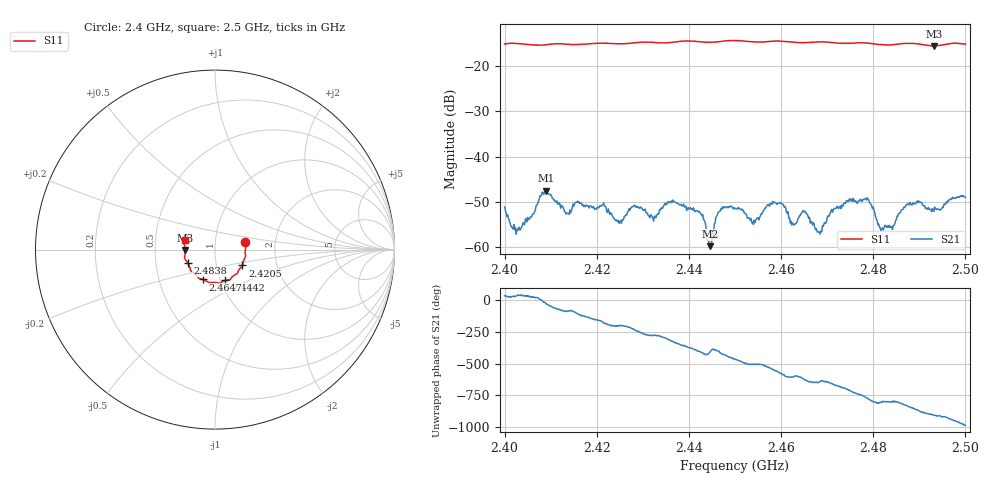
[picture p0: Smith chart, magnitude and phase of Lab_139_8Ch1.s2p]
# Hz S RI R 50
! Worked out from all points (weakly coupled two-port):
!   601 points, 2.4 GHz to 2.5 GHz, reference 50 ohm
!   highest |S21| = -47.54 dB at 2.409 GHz (marker M1); lowest = -59.7 dB at 2.4447 GHz (marker M2)
!   lowest |S11| = -15.6 dB at 2.4932 GHz (marker M3), VSWR 1.40, Z = 35.8 - j0.178 ohm
!   |S11| at or under -10 dB: start of sweep to end of sweep
!   S12 and S22 are empty: the file has one direction only
!   S11 on the Smith chart (normalised r, x): 2.4 GHz: 1.40, +0.12; 2.4205 GHz: 1.34, -0.24; 2.4442 GHz: 1.06, -0.37; 2.4647 GHz: 0.83, -0.29; 2.4838 GHz: 0.73, -0.11; 2.5 GHz: 0.71, +0.07
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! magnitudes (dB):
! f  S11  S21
! 2.4 GHz  -15.2  -51.1
! 2.403 GHz  -15.1  -55.8
! 2.409 GHz  -15.4  -47.5
! 2.4135 GHz  -15.3  -52.5
! 2.4167 GHz  -15.3  -50.3
! 2.4205 GHz  -15.1  -51.2
! 2.4333 GHz  -15.0  -52.8
! 2.442 GHz  -14.7  -52.2
! 2.4442 GHz  -14.8  -58.6
! 2.4447 GHz  -14.8  -59.7
! 2.4468 GHz  -14.7  -52.0
! 2.45 GHz  -14.4  -51.4
! 2.4647 GHz  -14.9  -52.0
! 2.4667 GHz  -14.8  -54.4
! 2.4683 GHz  -14.7  -56.7
! 2.4713 GHz  -14.9  -51.9
! 2.4785 GHz  -15.0  -49.6
! 2.4833 GHz  -15.4  -55.6
! 2.4838 GHz  -15.4  -55.4
! 2.4875 GHz  -15.1  -50.4
! 2.4932 GHz  -15.6  -52.1
! 2.5 GHz  -15.3  -49.0
